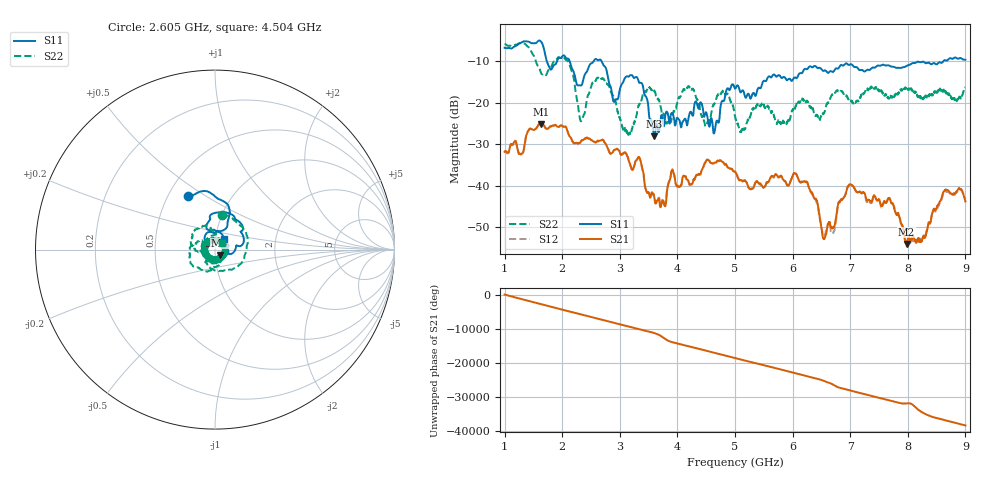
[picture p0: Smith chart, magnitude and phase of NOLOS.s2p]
!Keysight Technologies N9915A: A.10.33
!Date: Tuesday, 12 May 2020 14:05:18
!Timezone: (UTC+08:00) Perth
!Model: N9915A
!Serial: MY53102697
!GPS Latitude:
!GPS Longitude:
!GPS TimeStamp: 0001-01-01 00:00:00Z
!GPS Seconds Since Last Read: 0
!CHECKSUM:0824710176
!Correction: S11(ON U)S21(ON U)S12(ON U)S22(ON U)
!S2P File: Measurements:S11,S21,S12,S22:
# Hz S DB R 50
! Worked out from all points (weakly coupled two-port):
!   10001 points, 1 GHz to 9 GHz, reference 50 ohm
!   highest |S21| = -25.07 dB at 1.639 GHz (marker M1); lowest = -54.0 dB at 7.978 GHz (marker M2)
!   lowest |S11| = -28.0 dB at 3.598 GHz (marker M3), VSWR 1.08, Z = 52.5 - j3.18 ohm
!   |S11| at or under -10 dB: 1.734 GHz to 1.909 GHz (175.1 MHz wide, 9.62 % of centre); 2.131 GHz to 2.542 GHz (410.6 MHz wide, 17.6 % of centre); 2.685 GHz to 8.615 GHz (5.929 GHz wide, 105 % of centre)
!   |S22| runs from -27.7 to -5.6 dB; largest |S21 - S12| = 0.019
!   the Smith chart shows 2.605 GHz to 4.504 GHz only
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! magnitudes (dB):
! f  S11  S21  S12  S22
! 1 GHz  -6.7  -31.8  -31.9  -5.8
! 1.639 GHz  -5.4  -25.1  -25.1  -13.0
! 2.077 GHz  -9.3  -26.2  -26.2  -9.7
! 2.334 GHz  -15.7  -29.1  -29.2  -24.2
! 2.632 GHz  -9.7  -29.3  -29.3  -14.1
! 2.912 GHz  -19.6  -31.3  -31.3  -19.3
! 3.142 GHz  -13.7  -33.2  -33.2  -27.1
! 3.284 GHz  -13.7  -33.8  -33.9  -23.2
! 3.598 GHz  -28.0  -42.5  -42.8  -17.0
! 3.667 GHz  -27.0  -43.2  -43.1  -19.0
! 3.84 GHz  -23.1  -39.7  -39.5  -24.6
! 4.326 GHz  -19.7  -37.4  -37.5  -18.9
! 4.494 GHz  -22.3  -34.1  -34.0  -25.5
! 4.649 GHz  -26.7  -34.4  -34.5  -20.0
! 5 GHz  -16.6  -36.6  -36.8  -23.1
! 6.334 GHz  -11.4  -41.6  -41.9  -20.9
! 6.549 GHz  -12.2  -52.8  -52.2  -22.4
! 6.989 GHz  -10.8  -39.7  -39.8  -19.5
! 7.667 GHz  -10.9  -43.0  -43.0  -18.7
! 7.978 GHz  -11.1  -54.0  -54.5  -16.6
! 8.649 GHz  -9.7  -41.0  -41.4  -17.4
! 9 GHz  -9.6  -43.7  -43.1  -16.3
